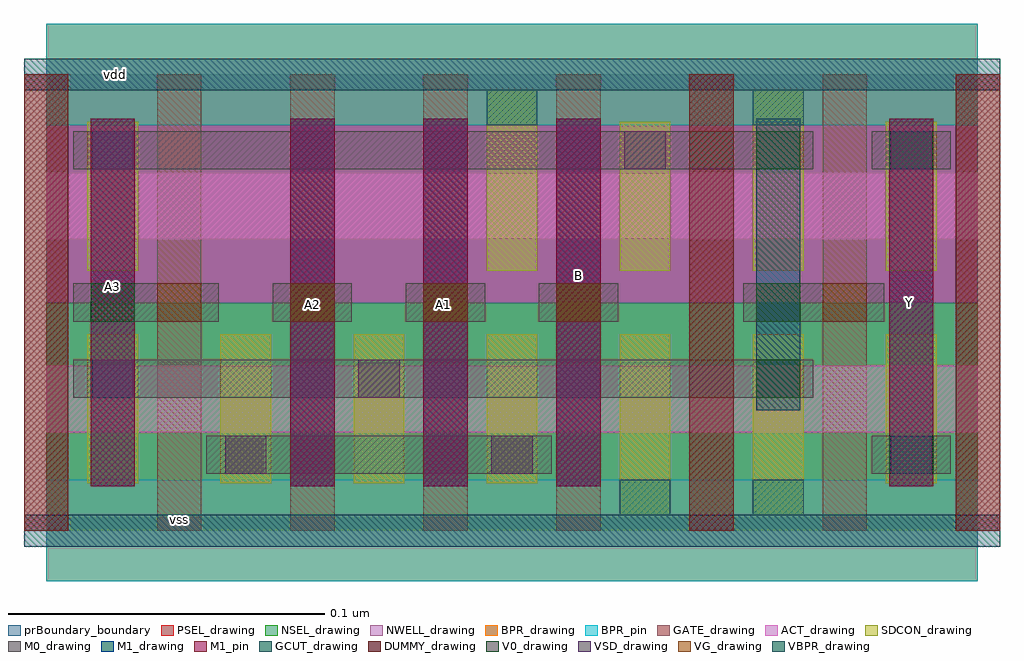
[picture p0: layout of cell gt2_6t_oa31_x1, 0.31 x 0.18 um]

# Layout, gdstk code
import gdstk
lib = gdstk.Library(unit=1e-6, precision=5e-10)
def R(c, l, rs):  # rectangles x0, y0, x1, y1
    for r in rs: c.add(gdstk.rectangle(r[:2], r[2:], *l))
def A(c, l, x, y, w, h, nx, ny, dx, dy):  # array of equal rectangles
    R(c, l, [(x+i*dx, y+j*dy, x+i*dx+w, y+j*dy+h) for i in range(nx) for j in range(ny)])
NWELL_drawing = (1, 0)
ACT_drawing = (2, 0)
GATE_drawing = (3, 0)
DUMMY_drawing = (4, 0)
GCUT_drawing = (5, 0)
NSEL_drawing = (6, 0)
PSEL_drawing = (7, 0)
BPR_drawing = (8, 0)
BPR_pin = (8, 251)
VBPR_drawing = (9, 0)
SDCON_drawing = (10, 0)
VSD_drawing = (11, 0)
VG_drawing = (12, 0)
M0_drawing = (20, 0)
V0_drawing = (22, 0)
M1_drawing = (25, 0)
M1_pin = (25, 251)
prBoundary_boundary = (235, 250)

gt2_6t_oa31_x1 = lib.new_cell('gt2_6t_oa31_x1')
R(gt2_6t_oa31_x1, NWELL_drawing, [(0,0.072,0.294,0.144)])
R(gt2_6t_oa31_x1, ACT_drawing, [(0,0.031,0.294,0.052), (0,0.092,0.294,0.113)])
A(gt2_6t_oa31_x1, GATE_drawing, -0.007, 0, 0.014, 0.144, 8, 1, 0.042, 0)
R(gt2_6t_oa31_x1, DUMMY_drawing, [(-0.007,0,0.007,0.144), (0.203,0,0.217,0.144), (0.287,0,0.301,0.144)])
R(gt2_6t_oa31_x1, GCUT_drawing, [(-0.007,-0.005,0.301,0.005), (-0.007,0.139,0.301,0.149)])
R(gt2_6t_oa31_x1, NSEL_drawing, [(0,0,0.294,0.072)])
R(gt2_6t_oa31_x1, PSEL_drawing, [(0,0.072,0.294,0.144)])
R(gt2_6t_oa31_x1, BPR_drawing, [(0,-0.016,0.294,0.016), (0,0.128,0.294,0.16)])
R(gt2_6t_oa31_x1, BPR_pin, [(0,-0.016,0.294,0.016), (0,0.128,0.294,0.16)])
R(gt2_6t_oa31_x1, VBPR_drawing, [(0.181,0.005,0.197,0.016), (0.223,0.005,0.239,0.016), (0.139,0.128,0.155,0.139), (0.223,0.128,0.239,0.139)])
A(gt2_6t_oa31_x1, SDCON_drawing, 0.013, 0.015, 0.016, 0.047, 4, 1, 0.042, 0)
R(gt2_6t_oa31_x1, SDCON_drawing, [(0.181,0.005,0.197,0.062), (0.223,0.005,0.239,0.062), (0.265,0.015,0.281,0.062), (0.013,0.082,0.029,0.129), (0.139,0.082,0.155,0.139), (0.181,0.082,0.197,0.129), (0.223,0.082,0.239,0.139), (0.265,0.082,0.281,0.129)])
R(gt2_6t_oa31_x1, VSD_drawing, [(0.0565,0.018,0.0695,0.03), (0.1405,0.018,0.1535,0.03), (0.2665,0.018,0.2795,0.03), (0.0145,0.042,0.0275,0.054), (0.0985,0.042,0.1115,0.054), (0.0145,0.114,0.0275,0.126), (0.1825,0.114,0.1955,0.126), (0.2665,0.114,0.2795,0.126)])
A(gt2_6t_oa31_x1, VG_drawing, 0.035, 0.066, 0.014, 0.012, 4, 1, 0.042, 0)
R(gt2_6t_oa31_x1, VG_drawing, [(0.245,0.066,0.259,0.078)])
A(gt2_6t_oa31_x1, M0_drawing, 0.0715, 0.066, 0.025, 0.012, 3, 1, 0.042, 0)
R(gt2_6t_oa31_x1, M0_drawing, [(0.0505,0.018,0.1595,0.03), (0.2605,0.018,0.2855,0.03), (0.0085,0.042,0.242,0.054), (0.0085,0.066,0.0545,0.078), (0.22,0.066,0.2645,0.078), (0.0085,0.114,0.242,0.126), (0.2605,0.114,0.2855,0.126)])
A(gt2_6t_oa31_x1, V0_drawing, 0.077, 0.066, 0.014, 0.012, 3, 1, 0.042, 0)
R(gt2_6t_oa31_x1, V0_drawing, [(0.266,0.018,0.28,0.03), (0.224,0.042,0.238,0.054), (0.014,0.066,0.028,0.078), (0.224,0.066,0.238,0.078), (0.224,0.114,0.238,0.126), (0.266,0.114,0.28,0.126)])
A(gt2_6t_oa31_x1, M1_drawing, 0.077, 0.014, 0.014, 0.116, 3, 1, 0.042, 0)
R(gt2_6t_oa31_x1, M1_drawing, [(0.014,0.014,0.028,0.13), (0.266,0.014,0.28,0.13), (0.224,0.038,0.238,0.13)])
A(gt2_6t_oa31_x1, M1_pin, 0.077, 0.014, 0.014, 0.116, 3, 1, 0.042, 0)
R(gt2_6t_oa31_x1, M1_pin, [(0.014,0.014,0.028,0.13), (0.266,0.014,0.28,0.13)])
R(gt2_6t_oa31_x1, prBoundary_boundary, [(0,0,0.294,0.144)])
gt2_6t_oa31_x1.add(gdstk.Label('vss', (0.042,0.0035), layer=8, texttype=251))
gt2_6t_oa31_x1.add(gdstk.Label('vdd', (0.022,0.144), layer=8, texttype=251))
gt2_6t_oa31_x1.add(gdstk.Label('B', (0.168,0.0805), layer=25, texttype=251))
gt2_6t_oa31_x1.add(gdstk.Label('A3', (0.021,0.077), layer=25, texttype=251))
gt2_6t_oa31_x1.add(gdstk.Label('Y', (0.2725,0.072), layer=25, texttype=251))
gt2_6t_oa31_x1.add(gdstk.Label('A1', (0.1255,0.0715), layer=25, texttype=251))
gt2_6t_oa31_x1.add(gdstk.Label('A2', (0.084,0.0715), layer=25, texttype=251))

lib.write_gds('gt2_6t_oa31_x1.gds')
